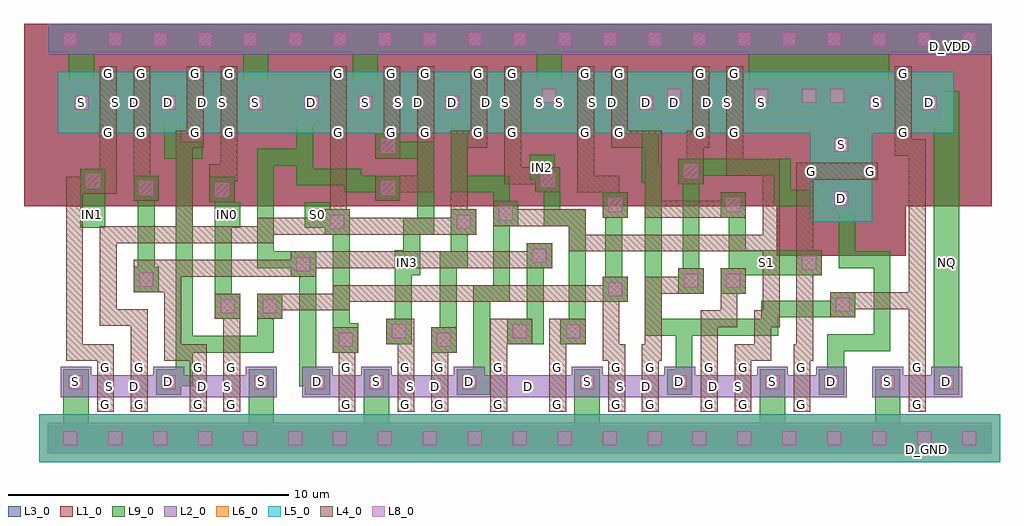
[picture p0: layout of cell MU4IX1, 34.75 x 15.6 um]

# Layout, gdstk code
import gdstk
lib = gdstk.Library(unit=1e-6, precision=1e-09)
def R(c, l, rs):  # rectangles x0, y0, x1, y1
    for r in rs: c.add(gdstk.rectangle(r[:2], r[2:], *l))
def A(c, l, x, y, w, h, nx, ny, dx, dy):  # array of equal rectangles
    R(c, l, [(x+i*dx, y+j*dy, x+i*dx+w, y+j*dy+h) for i in range(nx) for j in range(ny)])
def P(c, l, *ps):  # polygons
    for p in ps: c.add(gdstk.Polygon(p, *l))
L1_0 = (1, 0)
L2_0 = (2, 0)
L3_0 = (3, 0)
L4_0 = (4, 0)
L5_0 = (5, 0)
L6_0 = (6, 0)
L8_0 = (8, 0)
L9_0 = (9, 0)

mu4ix1 = lib.new_cell('MU4IX1')
A(mu4ix1, L1_0, 0, 8.8, 1.6, 6.5, 21, 1, 1.6, 0)
R(mu4ix1, L1_0, [(25.95,7.05,30.55,13.05), (-0.85,8.8,0.05,15.3), (-0.85,10.2,5.15,14.8), (0.35,10.2,6.35,14.8), (2.25,10.2,8.25,14.8), (3.45,10.2,9.45,14.8), (7.35,10.2,13.35,14.8), (9.25,10.2,15.25,14.8), (10.45,10.2,16.45,14.8), (12.35,10.2,18.35,14.8), (13.55,10.2,19.55,14.8), (16.15,10.2,22.15,14.8), (17.35,10.2,23.35,14.8), (20.25,10.2,26.25,14.8), (21.45,10.2,27.45,14.8), (27.45,10.2,33.45,14.8)])
A(mu4ix1, L2_0, 0, 0, 1.6, 1.1, 21, 2, 1.6, 14.2)
A(mu4ix1, L2_0, 13.45, 2, 1, 0.8, 4, 1, 2.1, 0)
R(mu4ix1, L2_0, [(0.45,2,1.55,3.1), (1.55,2,2.55,2.8), (1.65,2,2.75,2.8), (2.55,2,3.65,2.8), (2.75,2,3.75,2.8), (3.75,2,4.85,3.1), (3.75,2,4.85,3.1), (4.85,2,5.85,2.8), (4.95,2,6.05,2.8), (5.85,2,6.95,2.8), (6.05,2,7.05,2.8), (7.05,2,8.15,3.1), (9.05,2,10.15,3.1), (10.15,2,11.15,2.8), (11.15,2,12.25,3.1), (11.15,2,12.25,3.1), (12.25,2,13.25,2.8), (12.35,2,13.45,2.8), (13.25,2,14.35,2.8), (14.45,2,15.55,3.1), (14.45,2,15.55,3.1), (16.55,2,17.65,2.8), (16.55,2,17.65,2.8), (18.65,2,19.75,3.1), (18.65,2,19.75,3.1), (19.85,2,20.95,2.8), (20.75,2,21.85,2.8), (20.95,2,21.95,2.8), (21.95,2,23.05,3.1), (21.95,2,23.05,3.1), (23.05,2,24.05,2.8), (23.15,2,24.25,2.8), (24.05,2,25.15,2.8), (24.25,2,25.25,2.8), (25.25,2,26.35,3.1), (25.25,2,26.35,3.1), (26.35,2,27.35,2.8), (27.35,2,28.45,3.1), (29.35,2,30.45,3.1), (30.45,2,31.45,2.8), (31.45,2,32.55,3.1), (27.45,8.55,29.05,9.65), (27.45,9.65,29.05,10.45), (27.45,10.45,29.05,11.55), (0.65,11.7,1.75,13.3), (1.75,11.7,2.55,13.3), (1.85,11.7,2.95,13.3), (2.55,11.7,3.65,13.3), (2.95,11.7,3.75,13.3), (3.75,11.7,4.85,13.3), (3.75,11.7,4.85,13.3), (4.85,11.7,5.65,13.3), (4.95,11.7,6.05,13.3), (5.65,11.7,6.75,13.3), (6.05,11.7,6.85,13.3), (6.85,11.7,7.95,13.3), (8.85,11.7,9.95,13.3), (9.95,11.7,10.75,13.3), (10.75,11.7,11.85,13.3), (10.75,11.7,11.85,13.3), (11.85,11.7,12.65,13.3), (11.95,11.7,13.05,13.3), (12.65,11.7,13.75,13.3), (13.05,11.7,13.85,13.3), (13.85,11.7,14.95,13.3), (13.85,11.7,14.95,13.3), (14.95,11.7,15.75,13.3), (15.05,11.7,16.15,13.3), (15.75,11.7,16.85,13.3), (16.15,11.7,16.95,13.3), (16.95,11.7,18.05,13.3), (17.65,11.7,18.75,13.3), (18.75,11.7,19.55,13.3), (18.85,11.7,19.95,13.3), (19.55,11.7,20.65,13.3), (19.95,11.7,20.75,13.3), (20.75,11.7,21.85,13.3), (21.75,11.7,22.85,13.3), (22.85,11.7,23.65,13.3), (22.95,11.7,24.05,13.3), (23.65,11.7,24.75,13.3), (24.05,11.7,24.85,13.3), (24.85,11.7,25.95,13.3), (28.95,11.7,30.05,13.3), (30.05,11.7,30.85,13.3), (30.85,11.7,31.95,13.3), (17.3,12.2,18.4,13.3), (21.75,12.2,22.85,13.3), (24.85,12.2,25.95,13.3), (26.55,12.2,28.65,13.3)])
P(mu4ix1, L2_0, [(25.95,11.7),(27.45,11.7),(27.45,11.55),(29.05,11.55),(29.05,13.3),(25.95,13.3)])
A(mu4ix1, L3_0, 0, 8.8, 1.6, 6.5, 21, 1, 1.6, 0)
R(mu4ix1, L3_0, [(25.95,7.05,30.55,13.05), (-0.85,8.8,0.05,15.3), (-0.85,10.2,5.15,14.8), (0.35,10.2,6.35,14.8), (2.25,10.2,8.25,14.8), (3.45,10.2,9.45,14.8), (7.35,10.2,13.35,14.8), (9.25,10.2,15.25,14.8), (10.45,10.2,16.45,14.8), (12.35,10.2,18.35,14.8), (13.55,10.2,19.55,14.8), (16.15,10.2,22.15,14.8), (17.35,10.2,23.35,14.8), (20.25,10.2,26.25,14.8), (21.45,10.2,27.45,14.8), (27.45,10.2,33.45,14.8)])
A(mu4ix1, L4_0, 13.65, 1.5, 0.6, 1.8, 4, 1, 2.1, 0)
A(mu4ix1, L4_0, 13.65, 1.5, 0.6, 0.5, 4, 2, 2.1, 1.3)
R(mu4ix1, L4_0, [(1.75,1.5,2.35,3.3), (1.75,1.5,2.35,2), (2.95,1.5,3.55,3.3), (2.95,1.5,3.55,2), (5.05,1.5,5.65,3.3), (5.05,1.5,5.65,2), (6.25,1.5,6.85,3.3), (6.25,1.5,6.85,2), (10.35,1.5,10.95,3.3), (10.35,1.5,10.95,2), (12.45,1.5,13.05,3.3), (12.45,1.5,13.05,2), (21.15,1.5,21.75,3.3), (21.15,1.5,21.75,2), (23.25,1.5,23.85,3.3), (23.25,1.5,23.85,2), (24.45,1.5,25.05,3.3), (24.45,1.5,25.05,2), (26.55,1.5,27.15,3.3), (26.55,1.5,27.15,2), (30.65,1.5,31.25,3.3), (30.65,1.5,31.25,2), (13.65,2.75,14.25,4.05), (1.75,2.8,2.35,3.3), (2.95,2.8,3.55,3.3), (5.05,2.8,5.65,3.3), (6.25,2.8,6.85,3.3), (10.35,2.8,10.95,3.3), (12.45,2.8,13.05,3.3), (21.15,2.8,21.75,3.3), (23.25,2.8,23.85,3.3), (24.45,2.8,25.05,3.3), (26.55,2.8,27.15,3.3), (30.65,2.8,31.25,3.3), (10.35,2.85,10.95,3.7), (6.25,3.3,6.85,4.8), (12.45,3.3,13.05,4.8), (15.75,3.3,16.35,4.8), (17.85,3.3,18.45,4.8), (10.15,3.6,11.05,4.5), (13.65,3.6,14.55,4.5), (12.05,3.9,12.95,4.8), (16.35,3.9,17.25,4.8), (18.25,3.9,19.15,4.8), (5.95,4.8,6.85,5.7), (7.45,4.8,8.35,5.7), (27.85,4.85,28.75,5.75), (28.75,5.15,31.05,5.75), (16.4,5.4,19.5,6), (19.75,5.4,20.65,6.3), (22.45,5.7,23.35,6.6), (23.95,5.7,24.85,6.6), (3.05,5.75,3.95,6.65), (3.05,6.3,8.95,6.9), (8.65,6.3,9.55,7.2), (26.65,6.35,27.55,7.25), (9.55,6.6,16.3,7.2), (15.65,6.6,17.05,7.2), (17.05,6.6,17.95,7.5), (9.85,7.8,10.75,8.7), (14.35,7.8,15.25,8.7), (15.85,8.1,16.75,9), (19.75,8.4,20.65,9.3), (23.95,8.4,24.85,9.3), (10.05,8.7,10.65,11.25), (5.75,8.95,6.65,9.85), (3.05,9,3.95,9.9), (3.05,9,3.65,11.75), (11.65,9,12.55,9.9), (1.15,9.25,2.05,10.15), (17.35,9.3,18.25,10.2), (22.45,9.6,23.35,10.5), (26.95,9.75,29.55,10.35), (26.95,9.75,27.45,10.35), (29.05,9.75,29.55,10.35), (11.65,10.5,12.55,11.4), (24.15,10.5,24.75,11.2), (20.05,10.9,21.35,11.5), (1.85,11.2,2.45,11.7), (1.85,11.2,2.45,13.8), (3.05,11.2,3.65,11.7), (3.05,11.2,3.65,13.8), (4.95,11.2,5.55,11.7), (4.95,11.2,5.55,13.8), (6.15,11.2,6.75,11.7), (6.15,11.2,6.75,13.8), (10.05,11.2,10.65,11.7), (10.05,11.2,10.65,13.8), (11.95,11.2,12.55,11.7), (11.95,11.2,12.55,13.8), (13.15,11.2,13.75,11.7), (13.15,11.2,13.75,13.8), (15.05,11.2,15.65,11.7), (15.05,11.2,15.65,13.8), (16.25,11.2,16.85,11.7), (16.25,11.2,16.85,13.8), (18.85,11.2,19.45,11.7), (18.85,11.2,19.45,13.8), (20.05,11.2,20.65,11.7), (20.05,11.2,20.65,13.8), (22.95,11.2,23.55,11.7), (22.95,11.2,23.55,13.8), (24.15,11.2,24.75,11.7), (24.15,11.2,24.75,13.8), (30.15,11.2,30.75,11.7), (30.15,11.2,30.75,13.8), (1.85,13.3,2.45,13.8), (3.05,13.3,3.65,13.8), (4.95,13.3,5.55,13.8), (6.15,13.3,6.75,13.8), (10.05,13.3,10.65,13.8), (11.95,13.3,12.55,13.8), (13.15,13.3,13.75,13.8), (15.05,13.3,15.65,13.8), (16.25,13.3,16.85,13.8), (18.85,13.3,19.45,13.8), (20.05,13.3,20.65,13.8), (22.95,13.3,23.55,13.8), (24.15,13.3,24.75,13.8), (30.15,13.3,30.75,13.8)])
P(mu4ix1, L4_0, [(19.35,5.4),(19.75,5.4),(19.75,3.3),(20.55,3.3),(20.55,3.9),(20.35,3.9),(20.35,6),(19.35,6)],
  [(4.85,7.5),(8.05,7.5),(8.05,7.8),(10.15,7.8),(10.15,8.4),(7.45,8.4),(7.45,8.1),(4.85,8.1)],
  [(18.85,9.3),(19.75,9.3),(19.75,9),(20.35,9),(20.35,9.9),(19.45,9.9),(19.45,11.2),(18.85,11.2)],
  [(16.75,8.1),(18.55,8.1),(18.55,7.2),(25.5,7.2),(25.5,7.8),(19.15,7.8),(19.15,8.7),(16.75,8.7)],
  [(23.25,3.3),(23.85,3.3),(23.85,4.5),(24.55,4.5),(24.55,5.75),(23.95,5.75),(23.95,5.1),(23.25,5.1)],
  [(22.75,10.2),(23.35,10.2),(23.35,10.9),(23.55,10.9),(23.55,11.5),(22.75,11.5)],
  [(30.15,10.6),(30.65,10.6),(30.65,3.3),(31.25,3.3),(31.25,11.2),(30.15,11.2)],
  [(21.15,3.3),(21.85,3.3),(21.85,5.7),(22.5,5.7),(22.5,6.3),(21.25,6.3),(21.25,3.9),(21.15,3.9)],
  [(24.15,9.9),(25.45,9.9),(25.45,5.1),(25.15,5.1),(25.15,3.9),(24.45,3.9),(24.45,3.3),(25.75,3.3),(25.75,4.5),(26.05,4.5),(26.05,10.5),(24.75,10.5),(24.75,11.2),(24.15,11.2)],
  [(26.55,3.3),(27.25,3.3),(27.25,10.35),(26.65,10.35),(26.65,3.9),(26.55,3.9)],
  [(21.25,8.4),(24,8.4),(24,9),(21.85,9),(21.85,11.5),(21.25,11.5)],
  [(0.65,3.3),(2.35,3.3),(2.35,3.9),(1.25,3.9),(1.25,9.25),(2.45,9.25),(2.45,11.2),(1.85,11.2),(1.85,9.85),(0.65,9.85)],
  [(16.25,9.6),(18.05,9.6),(18.05,10.2),(16.85,10.2),(16.85,11.2),(16.25,11.2)],
  [(8.35,5.1),(10.75,5.1),(10.75,5.4),(17,5.4),(17,6),(10.15,6),(10.15,5.7),(8.35,5.7)],
  [(12.5,9.3),(13.75,9.3),(13.75,11.2),(13.15,11.2),(13.15,9.9),(12.5,9.9)],
  [(10.4,7.8),(14.95,7.8),(14.95,10.9),(15.65,10.9),(15.65,11.5),(14.35,11.5),(14.35,8.4),(10.4,8.4)],
  [(1.85,4.55),(2.95,4.55),(2.95,3.3),(3.55,3.3),(3.55,5.15),(2.45,5.15),(2.45,7.5),(5.15,7.5),(5.15,10.9),(5.55,10.9),(5.55,11.5),(4.55,11.5),(4.55,8.1),(1.85,8.1)],
  [(3.95,5.75),(4.15,5.75),(4.15,3.3),(5.65,3.3),(5.65,3.9),(4.75,3.9),(4.75,6.65),(3.95,6.65)],
  [(5.75,9.7),(6.75,9.7),(6.75,11.2),(6.15,11.2),(6.15,10.3),(5.75,10.3)])
A(mu4ix1, L5_0, 1.6, -0.3, 1.6, 1.7, 19, 1, 1.6, 0)
R(mu4ix1, L5_0, [(-0.3,-0.3,1.6,1.4), (32,-0.3,33.9,1.4), (27.15,8.25,29.35,11.85), (0.35,11.4,3.95,13.6), (1.55,11.4,5.15,13.6), (3.45,11.4,7.05,13.6), (4.65,11.4,8.25,13.6), (8.25,11.4,8.55,13.6), (8.55,11.4,12.15,13.6), (10.45,11.4,14.05,13.6), (11.65,11.4,15.25,13.6), (13.55,11.4,17.15,13.6), (14.75,11.4,18.35,13.6), (17.35,11.4,20.95,13.6), (18.55,11.4,22.15,13.6), (21.45,11.4,25.05,13.6), (22.65,11.4,26.25,13.6), (28.65,11.4,32.25,13.6)])
P(mu4ix1, L5_0, [(26.25,11.4),(27.15,11.4),(27.15,11.85),(28.65,11.85),(28.65,13.6),(26.25,13.6)])
A(mu4ix1, L6_0, 1.6, -0.3, 1.6, 1.7, 19, 1, 1.6, 0)
R(mu4ix1, L6_0, [(-0.3,-0.3,1.6,1.4), (32,-0.3,33.9,1.4), (27.15,8.25,29.35,11.85), (0.35,11.4,3.95,13.6), (1.55,11.4,5.15,13.6), (3.45,11.4,7.05,13.6), (4.65,11.4,8.25,13.6), (8.25,11.4,8.55,13.6), (8.55,11.4,12.15,13.6), (10.45,11.4,14.05,13.6), (11.65,11.4,15.25,13.6), (13.55,11.4,17.15,13.6), (14.75,11.4,18.35,13.6), (17.35,11.4,20.95,13.6), (18.55,11.4,22.15,13.6), (21.45,11.4,25.05,13.6), (22.65,11.4,26.25,13.6), (28.65,11.4,32.25,13.6)])
P(mu4ix1, L6_0, [(26.25,11.4),(27.15,11.4),(27.15,11.85),(28.65,11.85),(28.65,13.6),(26.25,13.6)])
A(mu4ix1, L8_0, 0.55, 0.3, 0.5, 0.5, 21, 2, 1.6, 14.2)
R(mu4ix1, L8_0, [(0.75,2.3,1.25,2.8), (4.05,2.3,4.55,2.8), (4.05,2.3,4.55,2.8), (7.35,2.3,7.85,2.8), (9.35,2.3,9.85,2.8), (11.45,2.3,11.95,2.8), (11.45,2.3,11.95,2.8), (14.75,2.3,15.25,2.8), (14.75,2.3,15.25,2.8), (18.95,2.3,19.45,2.8), (18.95,2.3,19.45,2.8), (22.25,2.3,22.75,2.8), (22.25,2.3,22.75,2.8), (25.55,2.3,26.05,2.8), (25.55,2.3,26.05,2.8), (27.65,2.3,28.15,2.8), (29.65,2.3,30.15,2.8), (31.75,2.3,32.25,2.8), (10.35,3.8,10.85,4.3), (13.85,3.8,14.35,4.3), (12.25,4.1,12.75,4.6), (16.55,4.1,17.05,4.6), (18.45,4.1,18.95,4.6), (6.15,5,6.65,5.5), (7.65,5,8.15,5.5), (28.05,5.05,28.55,5.55), (19.95,5.6,20.45,6.1), (22.65,5.9,23.15,6.4), (24.15,5.9,24.65,6.4), (3.25,5.95,3.75,6.45), (8.85,6.5,9.35,7), (26.85,6.55,27.35,7.05), (17.25,6.8,17.75,7.3), (10.05,8,10.55,8.5), (14.55,8,15.05,8.5), (16.05,8.3,16.55,8.8), (19.95,8.6,20.45,9.1), (24.15,8.6,24.65,9.1), (28,8.85,28.5,9.35), (5.95,9.15,6.45,9.65), (3.25,9.2,3.75,9.7), (11.85,9.2,12.35,9.7), (1.35,9.45,1.85,9.95), (17.55,9.5,18.05,10), (22.65,9.8,23.15,10.3), (11.85,10.7,12.35,11.2), (28,10.75,28.5,11.25), (0.95,12.25,1.45,12.75), (4.05,12.25,4.55,12.75), (4.05,12.25,4.55,12.75), (7.15,12.25,7.65,12.75), (9.15,12.25,9.65,12.75), (11.05,12.25,11.55,12.75), (11.05,12.25,11.55,12.75), (14.15,12.25,14.65,12.75), (21.05,12.25,21.55,12.75), (29.25,12.25,29.75,12.75), (31.15,12.25,31.65,12.75), (17.6,12.5,18.1,13), (22.05,12.5,22.55,13), (25.15,12.5,25.65,13), (26.85,12.5,27.35,13), (27.85,12.5,28.35,13)])
A(mu4ix1, L9_0, 0, 0, 1.6, 1, 21, 2, 1.6, 14.3)
R(mu4ix1, L9_0, [(30.75,0.05,31.65,0.95), (0.55,0.1,1.45,3), (11.25,0.1,12.15,3), (29.45,0.1,30.35,3), (0.55,2.1,1.45,3), (3.85,2.1,4.75,3), (3.85,2.1,4.75,3), (7.15,2.1,8.05,3), (9.15,2.1,10.05,3), (11.25,2.1,12.15,3), (11.25,2.1,12.15,3), (14.55,2.1,15.45,3), (14.55,2.1,15.45,3), (18.75,2.1,19.65,3), (18.75,2.1,19.65,3), (22.05,2.1,22.95,3), (22.05,2.1,22.95,3), (25.35,2.1,26.25,3), (25.35,2.1,26.25,3), (27.45,2.1,28.35,3), (29.45,2.1,30.35,3), (31.55,2.1,32.45,3), (22.35,2.4,22.95,4.8), (10.15,3.6,11.05,4.5), (13.65,3.6,14.55,4.5), (10.15,3.9,10.75,8.4), (12.05,3.9,12.95,4.8), (16.35,3.9,17.25,4.8), (18.25,3.9,19.15,4.8), (10.75,4.5,11.05,4.65), (5.95,4.8,6.85,5.7), (7.45,4.8,8.35,5.7), (27.85,4.85,28.75,5.75), (5.95,5.1,6.55,8.65), (19.75,5.4,20.65,6.3), (19.85,5.7,20.45,8.7), (22.45,5.7,23.35,6.6), (22.6,5.7,23.2,10.2), (23.95,5.7,24.85,6.6), (3.05,5.75,3.95,6.65), (3.2,6.05,3.8,9.6), (8.65,6.3,9.55,7.2), (12.35,6.35,13.25,7.25), (24.25,6.35,24.85,8.45), (24.85,6.35,26.65,7.25), (25.15,6.35,26.05,7.25), (26.65,6.35,27.55,7.25), (31.55,6.35,32.45,7.25), (17.05,6.6,17.95,7.5), (9.85,7.8,10.75,8.7), (14.35,7.8,15.25,8.7), (1.15,8.05,2.05,8.95), (5.95,8.05,6.85,8.95), (9.15,8.05,10.05,8.95), (15.85,8.1,16.75,9), (19.75,8.4,20.65,9.3), (23.95,8.4,24.85,9.3), (27.75,8.65,28.75,9.55), (1.15,8.95,2.05,9.85), (5.75,8.95,6.65,9.85), (3.05,9,3.95,9.9), (11.65,9,12.55,9.9), (1.15,9.25,2.05,10.15), (17.35,9.3,18.25,10.2), (22.45,9.6,23.35,10.5), (17.15,9.75,18.05,10.65), (11.65,10.5,12.55,11.4), (27.75,10.55,28.75,11.45), (0.75,12,1.65,13), (3.85,12,4.75,13), (3.85,12,4.75,13), (6.95,12,7.85,13), (8.95,12,9.85,13), (10.85,12,11.75,13), (10.85,12,11.75,13), (13.95,12,14.85,13), (20.85,12,21.75,13), (20.85,12,22.75,13.2), (29.05,12,29.95,13), (30.95,12,31.85,13), (6.95,12.1,7.85,15.2), (17.4,12.3,18.3,13.2), (21.85,12.3,22.75,13.2), (24.95,12.3,25.85,13.2), (26.65,12.3,28.55,13.2), (31.65,14.3,32.55,15.2)])
P(mu4ix1, L9_0, [(28.75,11.45),(28.75,12),(29.95,12),(29.95,14.35),(25.85,14.35),(25.85,12.3),(27.75,12.3),(27.75,11.45)],
  [(22.75,9.9),(25.85,9.9),(25.85,8.8),(28.35,8.8),(28.35,9.4),(26.45,9.4),(26.45,10.5),(22.75,10.5)],
  [(24.7,0.1),(26.25,0.1),(26.25,3),(25.35,3),(25.35,1),(24.7,1)],
  [(24.95,12.3),(25.85,12.3),(25.85,14.3),(26.5,14.3),(26.5,15.2),(24.95,15.2)],
  [(22.35,4.2),(26,4.2),(26,4.85),(28.45,4.85),(28.45,5.45),(25.4,5.45),(25.4,4.8),(22.35,4.8)],
  [(21.15,9.65),(21.25,9.65),(21.25,4.2),(22.95,4.2),(22.95,4.8),(21.85,4.8),(21.85,10.25),(21.75,10.25),(21.75,12.6),(21.15,12.6)],
  [(27.75,2.4),(28.35,2.4),(28.35,3.65),(30,3.65),(30,7.2),(28.75,7.2),(28.75,9.25),(28.15,9.25),(28.15,6.6),(29.4,6.6),(29.4,4.25),(27.75,4.25)],
  [(30.95,12),(31.55,12),(31.55,2.1),(32.45,2.1),(32.45,12.9),(30.95,12.9)],
  [(10.3,14.3),(10.85,14.3),(10.85,12.1),(11.75,12.1),(11.75,15.2),(10.3,15.2)],
  [(4.15,2.4),(5.15,2.4),(5.15,11.1),(4.55,11.1),(4.55,3),(4.15,3)],
  [(4.55,3.6),(8.05,3.6),(8.05,5.4),(7.45,5.4),(7.45,4.2),(4.55,4.2)],
  [(8.95,2.4),(9.75,2.4),(9.75,3),(9.55,3),(9.55,6.9),(8.95,6.9)],
  [(12.35,4.8),(12.95,4.8),(12.95,6.35),(13.25,6.35),(13.25,7.8),(13.75,7.8),(13.75,11.1),(12.55,11.1),(12.55,10.5),(13.15,10.5),(13.15,8.4),(12.65,8.4),(12.65,6.95),(12.35,6.95)],
  [(8.85,10.25),(9.45,10.25),(9.45,12),(9.55,12),(9.55,12.6),(8.85,12.6)],
  [(7.45,6.6),(9.25,6.6),(9.25,7.2),(8.05,7.2),(8.05,10.25),(9.45,10.25),(9.45,10.85),(7.45,10.85)],
  [(8.85,9.55),(10.55,9.55),(10.55,9.3),(12.25,9.3),(12.25,9.9),(11.15,9.9),(11.15,10.15),(9.45,10.15),(9.45,10.85),(8.85,10.85)],
  [(13.95,3.9),(14.55,3.9),(14.55,6.6),(14.95,6.6),(14.95,8.4),(14.35,8.4),(14.35,7.2),(13.95,7.2)],
  [(18.3,0.1),(19.65,0.1),(19.65,3),(18.75,3),(18.75,1),(18.3,1)],
  [(14.25,12),(14.35,12),(14.35,9.3),(15.85,9.3),(15.85,6),(15.15,6),(15.15,2.1),(15.75,2.1),(15.75,5.4),(16.45,5.4),(16.45,9.9),(14.95,9.9),(14.95,12.6),(14.25,12.6)],
  [(16.7,14.3),(17.4,14.3),(17.4,12.3),(18.3,12.3),(18.3,15.2),(16.7,15.2)],
  [(0.75,12.1),(1.65,12.1),(1.65,14.3),(2.5,14.3),(2.5,15.2),(0.75,15.2)],
  [(4.15,10.5),(5.5,10.5),(5.5,11.1),(4.75,11.1),(4.75,12.6),(4.15,12.6)],
  [(17.65,8.1),(18.55,8.1),(18.55,4.2),(19.15,4.2),(19.15,8.7),(18.25,8.7),(18.25,9.9),(17.65,9.9)],
  [(7.15,0.1),(8.9,0.1),(8.9,1),(8.05,1),(8.05,3),(7.15,3)],
  [(16.95,3.9),(17.65,3.9),(17.65,7.2),(17.05,7.2),(17.05,4.5),(16.95,4.5)])
mu4ix1.add(gdstk.Label('G', (26.85,1.752), layer=4, texttype=0))
mu4ix1.add(gdstk.Label('G', (26.85,3.052), layer=4, texttype=0))
mu4ix1.add(gdstk.Label('S', (25.799,2.551), layer=9, texttype=0))
mu4ix1.add(gdstk.Label('D', (27.899,2.551), layer=9, texttype=0))
mu4ix1.add(gdstk.Label('G', (10.65,1.752), layer=4, texttype=0))
mu4ix1.add(gdstk.Label('G', (10.65,3.052), layer=4, texttype=0))
mu4ix1.add(gdstk.Label('S', (11.701,2.551), layer=9, texttype=0))
mu4ix1.add(gdstk.Label('D', (9.601,2.551), layer=9, texttype=0))
mu4ix1.add(gdstk.Label('D', (13.799,2.401), layer=2, texttype=0))
mu4ix1.add(gdstk.Label('G', (12.75,1.752), layer=4, texttype=0))
mu4ix1.add(gdstk.Label('G', (12.75,3.052), layer=4, texttype=0))
mu4ix1.add(gdstk.Label('S', (11.699,2.551), layer=9, texttype=0))
mu4ix1.add(gdstk.Label('G', (29.298,10.05), layer=4, texttype=0))
mu4ix1.add(gdstk.Label('G', (27.198,10.05), layer=4, texttype=0))
mu4ix1.add(gdstk.Label('S', (28.249,11.001), layer=9, texttype=0))
mu4ix1.add(gdstk.Label('D', (28.249,9.101), layer=9, texttype=0))
mu4ix1.add(gdstk.Label('G', (10.35,13.548), layer=4, texttype=0))
mu4ix1.add(gdstk.Label('G', (10.35,11.448), layer=4, texttype=0))
mu4ix1.add(gdstk.Label('S', (11.301,12.499), layer=9, texttype=0))
mu4ix1.add(gdstk.Label('D', (9.401,12.499), layer=9, texttype=0))
mu4ix1.add(gdstk.Label('G', (13.95,1.752), layer=4, texttype=0))
mu4ix1.add(gdstk.Label('G', (13.95,3.052), layer=4, texttype=0))
mu4ix1.add(gdstk.Label('S', (12.899,2.401), layer=2, texttype=0))
mu4ix1.add(gdstk.Label('D', (14.999,2.551), layer=9, texttype=0))
mu4ix1.add(gdstk.Label('G', (13.45,13.548), layer=4, texttype=0))
mu4ix1.add(gdstk.Label('G', (13.45,11.448), layer=4, texttype=0))
mu4ix1.add(gdstk.Label('S', (12.499,12.499), layer=2, texttype=0))
mu4ix1.add(gdstk.Label('D', (14.399,12.499), layer=9, texttype=0))
mu4ix1.add(gdstk.Label('G', (12.25,13.548), layer=4, texttype=0))
mu4ix1.add(gdstk.Label('G', (12.25,11.448), layer=4, texttype=0))
mu4ix1.add(gdstk.Label('S', (11.299,12.499), layer=9, texttype=0))
mu4ix1.add(gdstk.Label('D', (13.199,12.499), layer=2, texttype=0))
mu4ix1.add(gdstk.Label('D', (23.701,2.401), layer=2, texttype=0))
mu4ix1.add(gdstk.Label('G', (24.75,1.752), layer=4, texttype=0))
mu4ix1.add(gdstk.Label('G', (24.75,3.052), layer=4, texttype=0))
mu4ix1.add(gdstk.Label('S', (25.801,2.551), layer=9, texttype=0))
mu4ix1.add(gdstk.Label('D', (17.101,2.401), layer=2, texttype=0))
mu4ix1.add(gdstk.Label('G', (18.15,1.752), layer=4, texttype=0))
mu4ix1.add(gdstk.Label('G', (18.15,3.052), layer=4, texttype=0))
mu4ix1.add(gdstk.Label('S', (19.201,2.551), layer=9, texttype=0))
mu4ix1.add(gdstk.Label('G', (23.55,1.752), layer=4, texttype=0))
mu4ix1.add(gdstk.Label('G', (23.55,3.052), layer=4, texttype=0))
mu4ix1.add(gdstk.Label('S', (24.601,2.401), layer=2, texttype=0))
mu4ix1.add(gdstk.Label('D', (22.501,2.551), layer=9, texttype=0))
mu4ix1.add(gdstk.Label('G', (16.05,1.752), layer=4, texttype=0))
mu4ix1.add(gdstk.Label('G', (16.05,3.052), layer=4, texttype=0))
mu4ix1.add(gdstk.Label('S', (17.101,2.401), layer=2, texttype=0))
mu4ix1.add(gdstk.Label('D', (15.001,2.551), layer=9, texttype=0))
mu4ix1.add(gdstk.Label('G', (23.25,11.452), layer=4, texttype=0))
mu4ix1.add(gdstk.Label('G', (23.25,13.552), layer=4, texttype=0))
mu4ix1.add(gdstk.Label('S', (24.201,12.501), layer=2, texttype=0))
mu4ix1.add(gdstk.Label('D', (22.301,12.501), layer=2, texttype=0))
mu4ix1.add(gdstk.Label('G', (15.35,11.452), layer=4, texttype=0))
mu4ix1.add(gdstk.Label('G', (15.35,13.552), layer=4, texttype=0))
mu4ix1.add(gdstk.Label('S', (16.301,12.501), layer=2, texttype=0))
mu4ix1.add(gdstk.Label('D', (14.401,12.501), layer=2, texttype=0))
mu4ix1.add(gdstk.Label('G', (24.45,11.452), layer=4, texttype=0))
mu4ix1.add(gdstk.Label('G', (24.45,13.552), layer=4, texttype=0))
mu4ix1.add(gdstk.Label('S', (25.401,12.501), layer=2, texttype=0))
mu4ix1.add(gdstk.Label('D', (23.501,12.501), layer=2, texttype=0))
mu4ix1.add(gdstk.Label('G', (16.55,11.452), layer=4, texttype=0))
mu4ix1.add(gdstk.Label('G', (16.55,13.552), layer=4, texttype=0))
mu4ix1.add(gdstk.Label('S', (17.501,12.501), layer=2, texttype=0))
mu4ix1.add(gdstk.Label('D', (15.601,12.501), layer=2, texttype=0))
mu4ix1.add(gdstk.Label('G', (30.95,1.752), layer=4, texttype=0))
mu4ix1.add(gdstk.Label('G', (30.95,3.052), layer=4, texttype=0))
mu4ix1.add(gdstk.Label('S', (29.899,2.551), layer=9, texttype=0))
mu4ix1.add(gdstk.Label('D', (31.999,2.551), layer=9, texttype=0))
mu4ix1.add(gdstk.Label('G', (30.45,11.452), layer=4, texttype=0))
mu4ix1.add(gdstk.Label('G', (30.45,13.552), layer=4, texttype=0))
mu4ix1.add(gdstk.Label('S', (29.499,12.501), layer=9, texttype=0))
mu4ix1.add(gdstk.Label('D', (31.399,12.501), layer=9, texttype=0))
mu4ix1.add(gdstk.Label('D', (3.099,2.401), layer=2, texttype=0))
mu4ix1.add(gdstk.Label('G', (2.05,1.752), layer=4, texttype=0))
mu4ix1.add(gdstk.Label('G', (2.05,3.052), layer=4, texttype=0))
mu4ix1.add(gdstk.Label('S', (0.999,2.551), layer=9, texttype=0))
mu4ix1.add(gdstk.Label('D', (21.299,2.401), layer=2, texttype=0))
mu4ix1.add(gdstk.Label('G', (20.25,1.752), layer=4, texttype=0))
mu4ix1.add(gdstk.Label('G', (20.25,3.052), layer=4, texttype=0))
mu4ix1.add(gdstk.Label('S', (19.199,2.551), layer=9, texttype=0))
mu4ix1.add(gdstk.Label('G', (3.25,1.752), layer=4, texttype=0))
mu4ix1.add(gdstk.Label('G', (3.25,3.052), layer=4, texttype=0))
mu4ix1.add(gdstk.Label('S', (2.199,2.401), layer=2, texttype=0))
mu4ix1.add(gdstk.Label('D', (4.299,2.551), layer=9, texttype=0))
mu4ix1.add(gdstk.Label('G', (21.45,1.752), layer=4, texttype=0))
mu4ix1.add(gdstk.Label('G', (21.45,3.052), layer=4, texttype=0))
mu4ix1.add(gdstk.Label('S', (20.399,2.401), layer=2, texttype=0))
mu4ix1.add(gdstk.Label('D', (22.499,2.551), layer=9, texttype=0))
mu4ix1.add(gdstk.Label('G', (3.35,11.452), layer=4, texttype=0))
mu4ix1.add(gdstk.Label('G', (3.35,13.552), layer=4, texttype=0))
mu4ix1.add(gdstk.Label('S', (2.399,12.501), layer=2, texttype=0))
mu4ix1.add(gdstk.Label('D', (4.299,12.501), layer=9, texttype=0))
mu4ix1.add(gdstk.Label('G', (20.35,11.452), layer=4, texttype=0))
mu4ix1.add(gdstk.Label('G', (20.35,13.552), layer=4, texttype=0))
mu4ix1.add(gdstk.Label('S', (19.399,12.501), layer=2, texttype=0))
mu4ix1.add(gdstk.Label('D', (21.299,12.501), layer=9, texttype=0))
mu4ix1.add(gdstk.Label('G', (2.15,11.452), layer=4, texttype=0))
mu4ix1.add(gdstk.Label('G', (2.15,13.552), layer=4, texttype=0))
mu4ix1.add(gdstk.Label('S', (1.199,12.501), layer=9, texttype=0))
mu4ix1.add(gdstk.Label('D', (3.099,12.501), layer=2, texttype=0))
mu4ix1.add(gdstk.Label('G', (19.15,11.452), layer=4, texttype=0))
mu4ix1.add(gdstk.Label('G', (19.15,13.552), layer=4, texttype=0))
mu4ix1.add(gdstk.Label('S', (18.199,12.501), layer=2, texttype=0))
mu4ix1.add(gdstk.Label('D', (20.099,12.501), layer=2, texttype=0))
mu4ix1.add(gdstk.Label('D', (5.501,2.401), layer=2, texttype=0))
mu4ix1.add(gdstk.Label('G', (6.55,1.752), layer=4, texttype=0))
mu4ix1.add(gdstk.Label('G', (6.55,3.052), layer=4, texttype=0))
mu4ix1.add(gdstk.Label('S', (7.601,2.551), layer=9, texttype=0))
mu4ix1.add(gdstk.Label('G', (5.35,1.752), layer=4, texttype=0))
mu4ix1.add(gdstk.Label('G', (5.35,3.052), layer=4, texttype=0))
mu4ix1.add(gdstk.Label('S', (6.401,2.401), layer=2, texttype=0))
mu4ix1.add(gdstk.Label('D', (4.301,2.551), layer=9, texttype=0))
mu4ix1.add(gdstk.Label('G', (5.25,11.452), layer=4, texttype=0))
mu4ix1.add(gdstk.Label('G', (5.25,13.552), layer=4, texttype=0))
mu4ix1.add(gdstk.Label('S', (6.201,12.501), layer=2, texttype=0))
mu4ix1.add(gdstk.Label('D', (4.301,12.501), layer=9, texttype=0))
mu4ix1.add(gdstk.Label('G', (6.45,11.452), layer=4, texttype=0))
mu4ix1.add(gdstk.Label('G', (6.45,13.552), layer=4, texttype=0))
mu4ix1.add(gdstk.Label('S', (7.401,12.501), layer=9, texttype=0))
mu4ix1.add(gdstk.Label('D', (5.501,12.501), layer=2, texttype=0))
mu4ix1.add(gdstk.Label('IN1', (1.6,8.5), layer=50, texttype=0))
mu4ix1.add(gdstk.Label('S0', (9.6,8.5), layer=50, texttype=0))
mu4ix1.add(gdstk.Label('IN0', (6.4,8.5), layer=50, texttype=0))
mu4ix1.add(gdstk.Label('S1', (25.6,6.8), layer=50, texttype=0))
mu4ix1.add(gdstk.Label('IN3', (12.8,6.8), layer=50, texttype=0))
mu4ix1.add(gdstk.Label('IN2', (17.6,10.2), layer=50, texttype=0))
mu4ix1.add(gdstk.Label('D_GND', (31.3,0.15), layer=50, texttype=0))
mu4ix1.add(gdstk.Label('D_VDD', (32.15,14.5), layer=50, texttype=0))
mu4ix1.add(gdstk.Label('NQ', (32,6.8), layer=50, texttype=0))

lib.write_gds('MU4IX1.gds')
